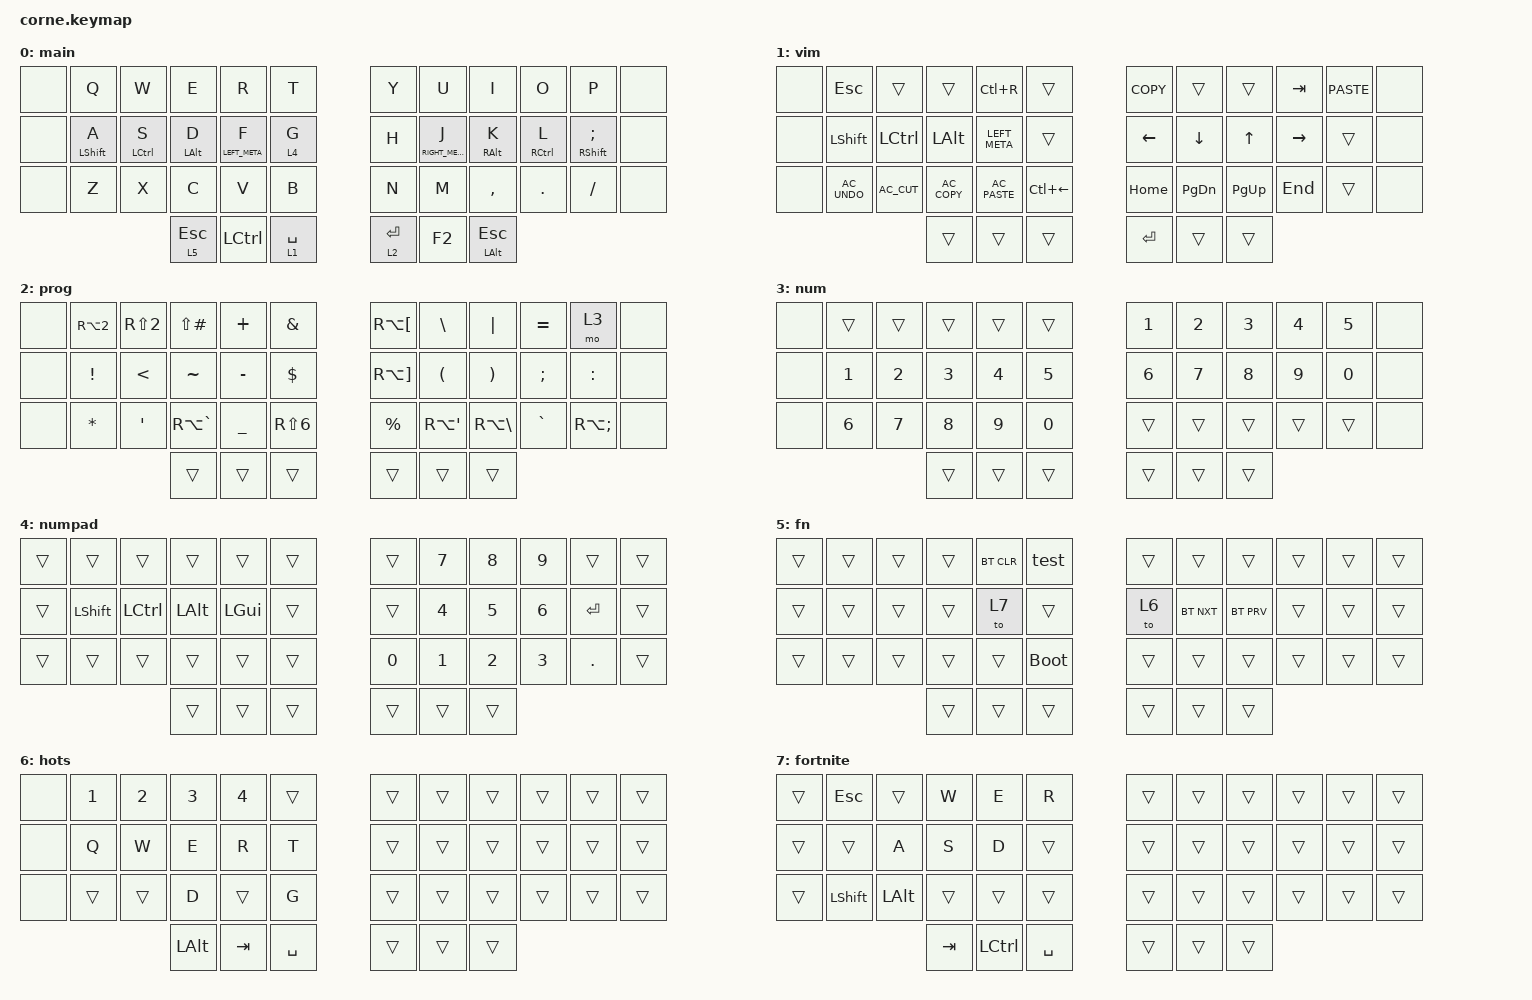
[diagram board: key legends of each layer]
#include <behaviors.dtsi>
#include <dt-bindings/zmk/bt.h>
#include <dt-bindings/zmk/keys.h>

// Layers

#define MAC 4
#define MAC_CODE 5
#define MAC_NUM 6
#define MAC_FUNC 7
#define WIN 0
#define WIN_CODE 1
#define WIN_NUM 2
#define WIN_FUNC 3

// Behavior Overrides

&lt {
    tapping-term-ms = <175>;
    flavor = "tap-preferred";
};

/ {
    //combos {
    //  compatible = "zmk,combos";
    //combo_tab {
    //  timeout-ms = <20>;
    //  key-positions = <1 2>;
    //  bindings = <&kp TAB>;
    //};
    //  combo_enter {
    //    timeout-ms = <20>;
    //  key-positions = <13 14>;
    //bindings = <&kp ENTER>;
    //};
    //};

    macros {
        // Emoji

        test: test {
            compatible = "zmk,behavior-macro";
            #binding-cells = <0>;
            bindings = <&none &kp S &kp A &kp L &kp U &kp T &kp SPACE &kp C &kp E &kp C &kp I &kp SPACE &kp E &kp S &kp T &kp SPACE &kp U &kp N &kp SPACE &kp T &kp E &kp S &kp T &kp EXCL>;
            label = "TEST";
        };

        lm: lm {
            compatible = "zmk,behavior-macro-two-param";
            wait-ms = <0>;
            tap-ms = <0>;
            #binding-cells = <2>;
            bindings =
                <&macro_param_1to1>,
                <&macro_press>,
                <&mo MACRO_PLACEHOLDER &macro_param_2to1>,
                <&macro_press>,
                <&kp MACRO_PLACEHOLDER>,
                <&macro_pause_for_release>,
                <&macro_param_2to1>,
                <&macro_release>,
                <&kp MACRO_PLACEHOLDER &macro_param_1to1>,
                <&macro_release>,
                <&mo MACRO_PLACEHOLDER>;
        };
    };

    behaviors {
        bm: bottom_row_mods {
            compatible = "zmk,behavior-hold-tap";
            label = "BOTTOM_ROW_MODS";
            #binding-cells = <2>;
            tapping-term-ms = <135>;
            quick-tap-ms = <0>;
            flavor = "tap-preferred";
            bindings = <&kp>, <&kp>;
        };

        hmr: homemodsrow {
            compatible = "zmk,behavior-hold-tap";
            label = "HOME_MODS_ROW";
            #binding-cells = <2>;
            tapping-term-ms = <200>;
            quick-tap-ms = <0>;
            flavor = "tap-preferred";
            bindings = <&kp>, <&kp>;
        };

        sm: space_mod {
            compatible = "zmk,behavior-hold-tap";
            label = "SPACE_MOD";
            #binding-cells = <2>;
            flavor = "balanced";
            tapping-term-ms = <200>;
            quick-tap-ms = <125>;
            bindings = <&kp>, <&kp>;
        };
    };

    combos {
        compatible = "zmk,combos";

        delete {
            bindings = <&kp BACKSPACE>;
            key-positions = <19 20>;
        };

        firstlayer {
            bindings = <&to 0>;
            key-positions = <38 39>;
        };
    };

    keymap {
        compatible = "zmk,keymap";

        default {
            bindings = <
&none  &kp Q              &kp W                &kp E            &kp R             &kp T          &kp Y        &kp U              &kp I                &kp O                 &kp P                       &none
&none  &hmr LEFT_SHIFT A  &hmr LEFT_CONTROL S  &hmr LEFT_ALT D  &hmr LEFT_META F  &lt 4 G        &kp H        &hmr RIGHT_META J  &hmr RIGHT_ALT K     &hmr RIGHT_CONTROL L  &hmr RIGHT_SHIFT SEMICOLON  &none
&none  &kp Z              &kp X                &kp C            &kp V             &kp B          &kp N        &kp M              &kp COMMA            &kp DOT               &kp FSLH                    &none
                                               &lt 5 ESCAPE     &kp LEFT_CONTROL  &lt 1 SPACE    &lt 2 ENTER  &kp F2             &mt LEFT_ALT ESCAPE
            >;

            label = "main";
        };

        vim {
            bindings = <
&none  &kp ESCAPE      &trans            &trans         &kp LC(R)       &trans          &kp K_COPY      &trans         &trans        &kp TAB    &kp K_PASTE  &none
&none  &kp LEFT_SHIFT  &kp LEFT_CONTROL  &kp LEFT_ALT   &kp LEFT_META   &trans          &kp LEFT_ARROW  &kp DOWN       &kp UP_ARROW  &kp RIGHT  &trans       &none
&none  &kp C_AC_UNDO   &kp C_AC_CUT      &kp C_AC_COPY  &kp C_AC_PASTE  &kp LC(LEFT)    &kp HOME        &kp PAGE_DOWN  &kp PAGE_UP   &kp END    &trans       &none
                                         &trans         &trans          &trans          &kp ENTER       &trans         &trans
            >;

            label = "vim";
        };

        prog {
            bindings = <
&none  &kp RA(NUMBER_2)  &kp RS(NUMBER_2)  &kp LS(POUND)  &kp PLUS   &kp AMPS            &kp RA(LEFT_BRACKET)  &kp BACKSLASH         &kp PIPE               &kp EQUAL  &mo 3         &none
&none  &kp EXCL          &kp LESS_THAN     &kp TILDE      &kp MINUS  &kp DOLLAR          &kp RA(RBKT)          &kp LEFT_PARENTHESIS  &kp RIGHT_PARENTHESIS  &kp SEMI   &kp COLON     &none
&none  &kp STAR          &kp APOS          &kp RA(GRAVE)  &kp UNDER  &kp RS(NUMBER_6)    &kp PERCENT           &kp RA(SINGLE_QUOTE)  &kp RA(BACKSLASH)      &kp GRAVE  &kp RA(SEMI)  &none
                                           &trans         &trans     &trans              &trans                &trans                &trans
            >;

            label = "prog";
        };

        num {
            bindings = <
&none  &trans  &trans  &trans  &trans  &trans    &kp N1  &kp N2  &kp N3  &kp N4  &kp N5  &none
&none  &kp N1  &kp N2  &kp N3  &kp N4  &kp N5    &kp N6  &kp N7  &kp N8  &kp N9  &kp N0  &none
&none  &kp N6  &kp N7  &kp N8  &kp N9  &kp N0    &trans  &trans  &trans  &trans  &trans  &none
                       &trans  &trans  &trans    &trans  &trans  &trans
            >;

            label = "num";
        };

        numpad {
            bindings = <
&trans  &trans     &trans     &trans    &trans    &trans    &trans  &kp N7  &kp N8  &kp N9  &trans   &trans
&trans  &kp LSHFT  &kp LCTRL  &kp LALT  &kp LGUI  &trans    &trans  &kp N4  &kp N5  &kp N6  &kp RET  &trans
&trans  &trans     &trans     &trans    &trans    &trans    &kp N0  &kp N1  &kp N2  &kp N3  &kp DOT  &trans
                              &trans    &trans    &trans    &trans  &trans  &trans
            >;
        };

        fn {
            bindings = <
&trans  &trans  &trans  &trans  &bt BT_CLR  &test          &trans  &trans      &trans      &trans  &trans  &trans
&trans  &trans  &trans  &trans  &to 7       &trans         &to 6   &bt BT_NXT  &bt BT_PRV  &trans  &trans  &trans
&trans  &trans  &trans  &trans  &trans      &bootloader    &trans  &trans      &trans      &trans  &trans  &trans
                        &trans  &trans      &trans         &trans  &trans      &trans
            >;

            label = "fn";
        };

        hots {
            bindings = <
&none  &kp N1  &kp N2  &kp N3    &kp N4   &trans       &trans  &trans  &trans  &trans  &trans  &trans
&none  &kp Q   &kp W   &kp E     &kp R    &kp T        &trans  &trans  &trans  &trans  &trans  &trans
&none  &trans  &trans  &kp D     &trans   &kp G        &trans  &trans  &trans  &trans  &trans  &trans
                       &kp LALT  &kp TAB  &kp SPACE    &trans  &trans  &trans
            >;

            label = "hots";
        };

        fortnite {
            bindings = <
&trans  &kp ESC    &trans    &kp W    &kp E      &kp R        &trans  &trans  &trans  &trans  &trans  &trans
&trans  &trans     &kp A     &kp S    &kp D      &trans       &trans  &trans  &trans  &trans  &trans  &trans
&trans  &kp LSHFT  &kp LALT  &trans   &trans     &trans       &trans  &trans  &trans  &trans  &trans  &trans
                             &kp TAB  &kp LCTRL  &kp SPACE    &trans  &trans  &trans
            >;

            label = "fortnite";
        };
    };

    conditional_layers { compatible = "zmk,conditional-layers"; };
};
